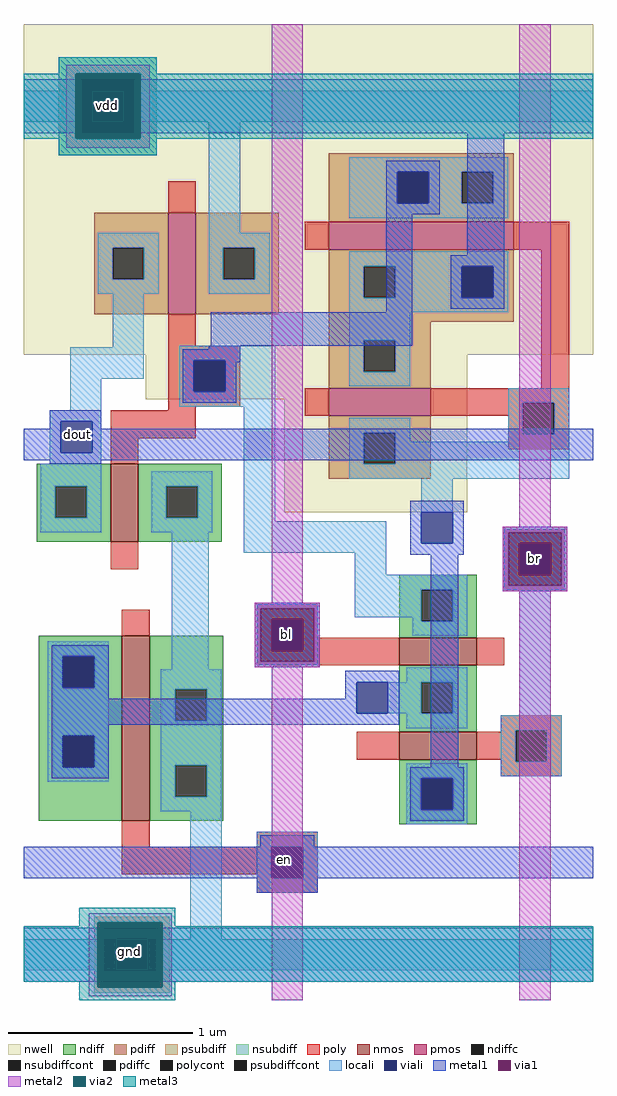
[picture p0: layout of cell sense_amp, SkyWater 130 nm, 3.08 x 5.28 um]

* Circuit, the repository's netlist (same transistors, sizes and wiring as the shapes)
* NGSPICE file created from sense_amp.ext - technology: sky130A

.subckt sense_amp bl br dout en vdd gnd
X0 vdd a_202_279# a_78_195# vdd sky130_fd_pr__pfet_01v8 ad=8.355e+11p pd=5.5e+06u as=3.7e+11p ps=2.74e+06u w=1e+06u l=150000u
X1 a_202_279# a_202_279# vdd vdd sky130_fd_pr__pfet_01v8 ad=1.87e+11p pd=1.78e+06u as=0p ps=0u w=550000u l=150000u
X2 gnd a_78_195# dout gnd sky130_fd_pr__nfet_01v8 ad=5.89e+11p pd=4.54e+06u as=1.68e+11p ps=1.64e+06u w=420000u l=150000u
X3 vdd a_78_195# dout vdd sky130_fd_pr__pfet_01v8 ad=0p pd=0u as=2.2e+11p ps=1.9e+06u w=550000u l=150000u
X4 a_134_48# en gnd gnd sky130_fd_pr__nfet_01v8 ad=6.012e+11p pd=4.46e+06u as=0p ps=0u w=1e+06u l=150000u
X5 a_202_279# br a_134_48# gnd sky130_fd_pr__nfet_01v8 ad=1.428e+11p pd=1.52e+06u as=0p ps=0u w=420000u l=150000u
X6 a_134_48# bl a_78_195# gnd sky130_fd_pr__nfet_01v8 ad=0p pd=0u as=1.47e+11p ps=1.54e+06u w=420000u l=150000u
.ends

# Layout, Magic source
magic
tech sky130A
<< nwell >>
rect 0 324 308 503
rect 66 300 240 324
rect 141 239 240 300
<< nmos >>
rect 47 223 62 265
rect 53 72 68 172
rect 203 156 245 171
rect 203 105 245 120
<< pmos >>
rect 78 346 93 401
rect 165 381 265 396
rect 165 291 220 306
<< ndiff >>
rect 7 253 47 265
rect 7 236 17 253
rect 34 236 47 253
rect 7 223 47 236
rect 62 253 107 265
rect 62 236 77 253
rect 94 236 107 253
rect 62 223 107 236
rect 203 197 245 205
rect 8 161 53 172
rect 8 144 21 161
rect 38 144 53 161
rect 8 118 53 144
rect 8 101 21 118
rect 38 101 53 118
rect 8 72 53 101
rect 68 143 108 172
rect 203 180 215 197
rect 232 180 245 197
rect 203 171 245 180
rect 68 126 82 143
rect 99 126 108 143
rect 68 102 108 126
rect 203 147 245 156
rect 203 130 215 147
rect 232 130 245 147
rect 203 120 245 130
rect 68 85 82 102
rect 99 85 108 102
rect 68 72 108 85
rect 203 95 245 105
rect 203 78 215 95
rect 232 78 245 95
rect 203 70 245 78
<< pdiff >>
rect 165 423 265 433
rect 165 406 202 423
rect 219 406 237 423
rect 254 406 265 423
rect 38 382 78 401
rect 38 365 48 382
rect 65 365 78 382
rect 38 346 78 365
rect 93 382 138 401
rect 165 396 265 406
rect 93 365 108 382
rect 125 365 138 382
rect 93 346 138 365
rect 165 372 265 381
rect 165 355 184 372
rect 201 355 237 372
rect 254 355 265 372
rect 165 342 265 355
rect 165 332 220 342
rect 165 315 184 332
rect 201 315 220 332
rect 165 306 220 315
rect 165 282 220 291
rect 165 265 184 282
rect 201 265 220 282
rect 165 257 220 265
<< ndiffc >>
rect 17 236 34 253
rect 77 236 94 253
rect 21 144 38 161
rect 21 101 38 118
rect 215 180 232 197
rect 82 126 99 143
rect 215 130 232 147
rect 82 85 99 102
rect 215 78 232 95
<< pdiffc >>
rect 202 406 219 423
rect 237 406 254 423
rect 48 365 65 382
rect 108 365 125 382
rect 184 355 201 372
rect 237 355 254 372
rect 184 315 201 332
rect 184 265 201 282
<< psubdiff >>
rect 38 8 79 20
rect 38 -9 50 8
rect 67 -9 79 8
rect 38 -21 79 -9
<< nsubdiff >>
rect 19 467 72 485
rect 19 450 37 467
rect 54 450 72 467
rect 19 432 72 450
<< psubdiffcont >>
rect 50 -9 67 8
<< nsubdiffcont >>
rect 37 450 54 467
<< poly >>
rect 78 401 93 418
rect 152 381 165 396
rect 265 381 295 396
rect 78 329 93 346
rect 78 321 117 329
rect 78 304 92 321
rect 109 304 117 321
rect 280 306 295 381
rect 78 296 117 304
rect 78 294 93 296
rect 47 279 93 294
rect 152 291 165 306
rect 220 298 295 306
rect 220 291 270 298
rect 47 265 62 279
rect 262 281 270 291
rect 287 281 295 298
rect 262 273 295 281
rect 47 208 62 223
rect 260 222 293 230
rect 260 205 268 222
rect 285 205 293 222
rect 260 197 293 205
rect 53 172 68 186
rect 126 181 159 189
rect 126 164 134 181
rect 151 171 159 181
rect 151 164 203 171
rect 126 156 203 164
rect 245 156 260 171
rect 135 155 150 156
rect 258 121 291 129
rect 258 120 266 121
rect 180 105 203 120
rect 245 105 266 120
rect 258 104 266 105
rect 283 104 291 121
rect 258 96 291 104
rect 53 58 68 72
rect 126 58 159 66
rect 53 43 134 58
rect 126 41 134 43
rect 151 41 159 58
rect 126 33 159 41
<< polycont >>
rect 92 304 109 321
rect 270 281 287 298
rect 268 205 285 222
rect 134 164 151 181
rect 266 104 283 121
rect 134 41 151 58
<< locali >>
rect 29 467 62 475
rect 0 450 37 467
rect 54 450 308 467
rect 29 442 62 450
rect 100 390 117 450
rect 176 423 262 431
rect 176 406 202 423
rect 219 406 237 423
rect 254 406 262 423
rect 176 398 262 406
rect 40 382 73 390
rect 40 365 48 382
rect 65 365 73 382
rect 40 357 73 365
rect 100 382 133 390
rect 100 365 108 382
rect 125 365 133 382
rect 100 357 133 365
rect 176 372 262 380
rect 48 328 65 357
rect 176 355 184 372
rect 201 355 237 372
rect 254 355 262 372
rect 176 347 262 355
rect 176 332 209 347
rect 25 311 65 328
rect 84 321 136 329
rect 25 294 42 311
rect 84 304 92 321
rect 109 304 136 321
rect 176 315 184 332
rect 201 315 209 332
rect 176 307 209 315
rect 84 296 136 304
rect 14 288 42 294
rect 14 271 20 288
rect 37 271 42 288
rect 14 265 42 271
rect 9 253 42 265
rect 9 236 17 253
rect 34 236 42 253
rect 9 228 42 236
rect 69 253 102 261
rect 69 236 77 253
rect 94 236 102 253
rect 69 228 102 236
rect 119 234 136 296
rect 262 298 295 306
rect 176 282 209 290
rect 176 265 184 282
rect 201 277 209 282
rect 262 281 270 298
rect 287 281 295 298
rect 262 277 295 281
rect 201 265 295 277
rect 176 257 295 265
rect 215 239 232 257
rect 13 161 46 169
rect 13 144 21 161
rect 38 144 46 161
rect 80 154 100 228
rect 119 217 196 234
rect 260 222 293 230
rect 179 205 196 217
rect 260 205 268 222
rect 285 205 293 222
rect 179 197 240 205
rect 260 197 293 205
rect 126 181 159 189
rect 179 182 215 197
rect 126 164 134 181
rect 151 164 159 181
rect 210 180 215 182
rect 232 180 240 197
rect 210 172 240 180
rect 126 156 159 164
rect 13 118 46 144
rect 13 101 21 118
rect 38 101 46 118
rect 13 93 46 101
rect 74 143 107 154
rect 207 147 240 155
rect 74 126 82 143
rect 99 126 107 143
rect 197 130 215 147
rect 232 130 240 147
rect 74 102 107 126
rect 207 122 240 130
rect 268 129 285 197
rect 258 121 291 129
rect 258 104 266 121
rect 283 104 291 121
rect 74 85 82 102
rect 99 85 107 102
rect 74 77 107 85
rect 90 8 107 77
rect 207 95 240 103
rect 258 96 291 104
rect 207 78 215 95
rect 232 78 240 95
rect 207 70 240 78
rect 126 58 159 66
rect 126 41 134 58
rect 151 41 159 58
rect 126 33 159 41
rect 0 -9 50 8
rect 67 -9 308 8
<< viali >>
rect 37 450 54 467
rect 202 406 219 423
rect 237 355 254 372
rect 92 304 109 321
rect 20 271 37 288
rect 21 144 38 161
rect 215 222 232 239
rect 268 205 285 222
rect 134 164 151 181
rect 21 101 38 118
rect 180 130 197 147
rect 215 78 232 95
rect 134 41 151 58
rect 50 -9 67 8
<< metal1 >>
rect 0 444 31 473
rect 60 444 308 473
rect 196 423 225 429
rect 196 406 202 423
rect 219 406 225 423
rect 196 400 225 406
rect 196 347 210 400
rect 240 378 260 444
rect 231 372 260 378
rect 231 355 237 372
rect 254 355 260 372
rect 231 349 260 355
rect 101 329 210 347
rect 100 327 117 329
rect 86 321 117 327
rect 86 304 92 321
rect 109 320 117 321
rect 109 304 115 320
rect 86 298 115 304
rect 14 288 42 294
rect 14 284 20 288
rect 0 271 20 284
rect 37 284 42 288
rect 37 271 308 284
rect 0 267 308 271
rect 14 265 42 267
rect 209 239 238 245
rect 209 222 215 239
rect 232 222 238 239
rect 209 216 238 222
rect 259 228 294 231
rect 125 187 160 190
rect 15 161 46 167
rect 15 144 21 161
rect 38 144 46 161
rect 125 158 128 187
rect 157 158 160 187
rect 125 155 160 158
rect 15 138 46 144
rect 174 147 203 153
rect 174 138 180 147
rect 15 130 180 138
rect 197 130 203 147
rect 15 124 203 130
rect 15 118 46 124
rect 15 101 21 118
rect 38 101 46 118
rect 220 101 235 216
rect 259 199 262 228
rect 291 199 294 228
rect 259 196 294 199
rect 15 95 46 101
rect 209 95 238 101
rect 209 78 215 95
rect 232 78 238 95
rect 209 72 238 78
rect 128 58 157 64
rect 0 41 134 58
rect 151 41 308 58
rect 126 33 159 41
rect 0 -15 43 14
rect 72 -15 308 14
<< via1 >>
rect 31 467 60 473
rect 31 450 37 467
rect 37 450 54 467
rect 54 450 60 467
rect 31 444 60 450
rect 128 181 157 187
rect 128 164 134 181
rect 134 164 151 181
rect 151 164 157 181
rect 128 158 157 164
rect 262 222 291 228
rect 262 205 268 222
rect 268 205 285 222
rect 285 205 291 222
rect 262 199 291 205
rect 43 8 72 14
rect 43 -9 50 8
rect 50 -9 67 8
rect 67 -9 72 8
rect 43 -15 72 -9
<< metal2 >>
rect 23 476 68 481
rect 23 441 28 476
rect 63 441 68 476
rect 23 436 68 441
rect 134 190 151 503
rect 268 231 285 503
rect 259 228 294 231
rect 259 199 262 228
rect 291 199 294 228
rect 259 196 294 199
rect 125 187 160 190
rect 125 158 128 187
rect 157 158 160 187
rect 125 155 160 158
rect 35 17 80 22
rect 35 -18 40 17
rect 75 -18 80 17
rect 35 -23 80 -18
rect 134 -25 151 155
rect 268 -25 285 196
<< via2 >>
rect 28 473 63 476
rect 28 444 31 473
rect 31 444 60 473
rect 60 444 63 473
rect 28 441 63 444
rect 40 14 75 17
rect 40 -15 43 14
rect 43 -15 72 14
rect 72 -15 75 14
rect 40 -18 75 -15
<< metal3 >>
rect 19 476 72 485
rect 0 441 28 476
rect 63 441 308 476
rect 19 432 72 441
rect 30 17 82 25
rect 30 15 40 17
rect 0 -15 40 15
rect 30 -18 40 -15
rect 75 15 82 17
rect 75 -15 308 15
rect 75 -18 82 -15
rect 30 -25 82 -18
<< labels >>
flabel metal2 s 130 161 154 185 0 FreeSans 200 0 0 0 bl
port 0 nsew
flabel metal2 s 264 202 288 226 0 FreeSans 200 0 0 0 br
port 1 nsew
flabel metal1 s 17 269 41 293 0 FreeSans 200 0 0 0 dout
port 2 nsew
flabel metal3 s 33 447 57 471 0 FreeSans 200 0 0 0 vdd
port 4 nsew
flabel metal3 s 45 -11 69 13 0 FreeSans 200 0 0 0 gnd
port 5 nsew
flabel metal1 s 129 39 153 63 0 FreeSans 200 0 0 0 en
port 3 nsew
<< properties >>
string FIXED_BBOX 0 0 308 459
<< end >>
